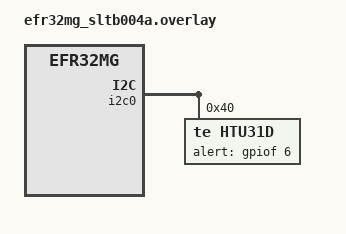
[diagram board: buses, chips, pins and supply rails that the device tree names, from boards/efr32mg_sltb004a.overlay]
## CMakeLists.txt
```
#
# Copyright (c) 2018 Peter Bigot Consulting, LLC
#
# SPDX-License-Identifier: Apache-2.0
#

cmake_minimum_required(VERSION 3.20.0)
find_package(Zephyr REQUIRED HINTS $ENV{ZEPHYR_BASE})
project(htu31d)

FILE(GLOB app_sources src/*.c)
target_sources(app PRIVATE ${app_sources})
```

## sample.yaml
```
#
# Copyright (c) 2018 Peter Bigot Consulting, LLC
#
# SPDX-License-Identifier: Apache-2.0
#

sample:
  name: HTU31D Sensor Sample
tests:
  sample.sensor.htu31d:
    build_only: true
    platform_allow: efr32mg_sltb004a frdm_k64f nrf51_ble400
      nrf52840dk_nrf52840 nucleo_l476rg
    tags: sensors
```

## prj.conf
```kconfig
#
# Copyright (c) 2018 Peter Bigot Consulting, LLC
#
# SPDX-License-Identifier: Apache-2.0
#

CONFIG_STDOUT_CONSOLE=y
CONFIG_I2C=y
CONFIG_I2C_SHELL=y
CONFIG_SHELL=y
CONFIG_SENSOR=y
CONFIG_HTU31D=y
CONFIG_CBPRINTF_FP_SUPPORT=y
```

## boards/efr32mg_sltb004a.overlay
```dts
/*
 * Copyright (c) 2018-2019 Peter Bigot Consulting, LLC
 *
 * SPDX-License-Identifier: Apache-2.0
 */

&i2c0 { /* SDA H16=PC10, SCL H15=PC11, ALERT H13=PF6 */
	htu31d@40{
		compatible = "te,htu31d";
		reg = <0x40>;
		label = "HTU31D";
		alert-gpios = <&gpiof 6 GPIO_ACTIVE_HIGH>;
	};
};
```

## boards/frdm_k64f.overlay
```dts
/*
 * Copyright (c) 2019 Peter Bigot Consulting, LLC
 *
 * SPDX-License-Identifier: Apache-2.0
 */

&i2c0 { /* SDA PTE25, SCL PTE24, ALERT PTE26 */
	htu31d@40 {
		compatible = "te,htu31d";
		reg = <0x40>;
		label = "htu31d";
		alert-gpios = <&gpioe 26 GPIO_ACTIVE_HIGH>;
	};
};
```

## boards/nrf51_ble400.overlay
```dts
/*
 * Copyright (c) 2018-2019 Peter Bigot Consulting, LLC
 *
 * SPDX-License-Identifier: Apache-2.0
 */

&i2c0 { /* SDA 0, SCL 1 */
	htu31d@40 {
		compatible = "sensirion,htu31d";
		reg = <0x40>;
		label = "HTU31D";
		alert-gpios = <&gpio0 2 GPIO_ACTIVE_HIGH>;
	};
};
```

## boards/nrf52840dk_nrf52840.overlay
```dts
/*
 * Copyright (c) 2018-2019 Peter Bigot Consulting, LLC
 *
 * SPDX-License-Identifier: Apache-2.0
 */

&i2c0 { /* SDA P0.26, SCL P0.27, ALERT P1.10 */
	htu31d@40 {
		compatible = "te,htu31d";
		reg = <0x40>;
		label = "HTU31D";
		alert-gpios = <&gpio1 10 GPIO_ACTIVE_HIGH>;
	};
};
```

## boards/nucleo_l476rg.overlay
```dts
/*
 * Copyright (c) 2019 Peter Bigot Consulting, LLC
 *
 * SPDX-License-Identifier: Apache-2.0
 */

&i2c1 { /* SDA CN5.9=PB9, SCL CN5.10=PB8, ALERT CN5.1=D8=PA9 */
/* &i2c3 { * SDA CN7.36=PC1, SCL CN7.38=PC0, ALERT CN7.34=PB0 */
	sht3xd@40 {
		compatible = "te,htu31d";
		reg = <0X40>;
		label = "HTU31D";
		alert-gpios = <&gpioa 9 GPIO_ACTIVE_HIGH>;
	};
};
```

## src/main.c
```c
#include <zephyr.h>
#include <device.h>
#include <drivers/sensor.h>
#include <stdio.h>

void main(void)
{
	const struct device *dev = device_get_binding("HTU31D");
	int rc;

	if (dev == NULL) {
		printf("Could not get HTU31D device\n");
		return;
	}
	else{
		printf("Success Connected HTU31D...\n");
	}

	while (true) {
		struct sensor_value temp, hum;
		// struct sensor_value hum;

		rc = sensor_sample_fetch(dev);
		
		if (rc == 0) {
			rc = sensor_channel_get(dev, SENSOR_CHAN_AMBIENT_TEMP,
						&temp);
		}
		if (rc == 0) {
			rc = sensor_channel_get(dev, SENSOR_CHAN_HUMIDITY,
						&hum);
		}
		if (rc != 0) {
			printf("HTU31D: failed: %d\n", rc);
			break;
		}

		printf(" HTU31D:  [ %.2f°C ] ; [ %0.2f %% RH ]\n",
		       sensor_value_to_double(&temp),
		       sensor_value_to_double(&hum));

		k_sleep(K_MSEC(2000));
	}
}
```
